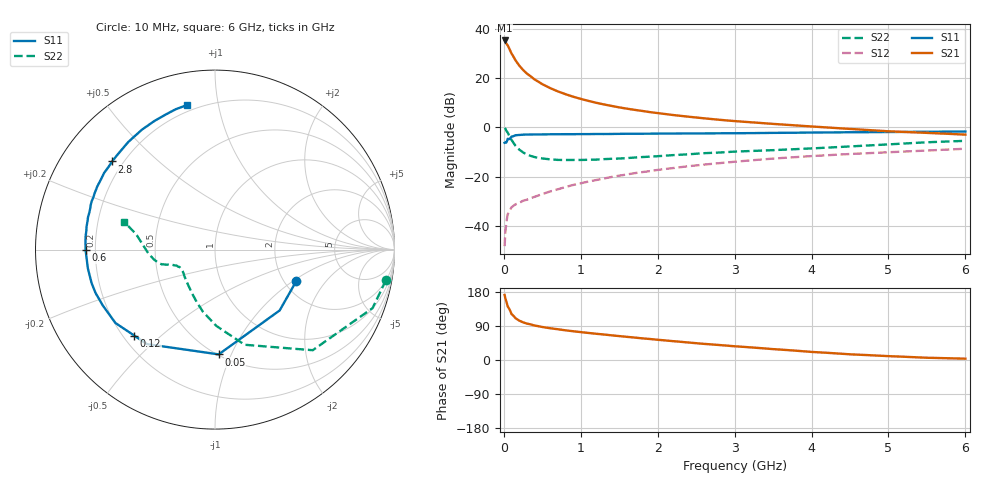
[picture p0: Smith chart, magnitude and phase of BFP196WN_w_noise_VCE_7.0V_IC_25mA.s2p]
! Infineon Technologies  Discrete & RF Semiconductors
! BFP196WN
! VCE =  7.0 V,  IC =  25 mA
! Common Emitter S-Parameters:  Jan 2017
# GHz  S  MA  R  50
!  f  S11  S21  S12  S22
! GHz  MAG  ANG  MAG  ANG  MAG  ANG  MAG  ANG
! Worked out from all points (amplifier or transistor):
!   77 points, 10 MHz to 6 GHz, reference 50 ohm
!   highest |S21| = 35.2 dB at 10 MHz (marker M1)
!   |S21| within 3 dB of that: start of sweep to 65.97 MHz
!   unconditionally stable (mu >= 1): 870.2 MHz to 2.671 GHz
!   at 130 MHz: K = 0.36, MSG = 30.0 dB, |S12| = -31.7 dB
!   at 2.2 GHz: K = 1.03, MAG = 9.8 dB, |S12| = -16.5 dB
!   at 6 GHz: K = 0.89, MSG = 2.9 dB, |S12| = -8.7 dB
!   lowest NFmin = 1.00 dB at 450 MHz
!   S11 on the Smith chart (normalised r, x): 10 MHz: 2.31, -1.07; 50 MHz: 0.51, -0.90; 120 MHz: 0.24, -0.41; 600 MHz: 0.16, -0.00; 2.8 GHz: 0.16, +0.36; 6 GHz: 0.17, +0.81
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0.01  0.4858 -21.3  57.39 171.7  0.0039 82.5  0.9673 -10.2
0.02  0.4946 -43.3  54.2 162.4  0.0077 76.5  0.9365 -20.4
0.05  0.5842 -88.0  45.75 141.3  0.0172 58.0  0.7817 -45.8
0.1  0.6489 -125.8  31.22 121.1  0.0239 46.0  0.5553 -72.7
0.12  0.6572 -133.2  27.8 117.6  0.0253 44.4  0.4984 -78.2
0.15  0.6891 -143.6  22.94 110.5  0.0274 42.2  0.4246 -89.1
0.2  0.6984 -153.5  17.8 103.9  0.0293 42.7  0.3532 -100.9
0.25  0.7081 -160.1  14.5 99.4  0.0325 43.2  0.3096 -109.2
0.3  0.7124 -164.9  12.22 96.1  0.0341 45.0  0.2789 -116.6
0.4  0.7159 -171.5  9.292 90.9  0.039 49.0  0.2487 -126.7
0.5  0.7171 -176.3  7.466 87.1  0.0443 52.5  0.2332 -134.4
0.6  0.7207 -179.7  6.242 83.9  0.05 55.5  0.2243 -140.0
0.7  0.7224 177.3  5.349 81.2  0.0552 57.7  0.2183 -143.8
0.8  0.7248 174.3  4.691 78.3  0.0615 60.2  0.2173 -146.5
1.1  0.7274 167.7  3.422 71.4  0.0796 62.5  0.2191 -153.0
1.5  0.7356 160.3  2.528 63.1  0.1045 63.0  0.2326 -157.7
2.1  0.7449 150.2  1.854 51.6  0.143 61.9  0.2661 -161.5
2.8  0.7547 139.4  1.419 39.5  0.1873 58.4  0.3075 -164.5
3.1  0.7591 134.8  1.301 34.9  0.2065 56.1  0.3256 -167.4
4.1  0.7837 120.1  1.015 20.2  0.2659 48.8  0.3797 -178.7
5.1  0.8032 109.0  0.817 9.4  0.3169 41.4  0.4591 167.9
6  0.8202 100.9  0.71 3.5  0.3677 35.3  0.531 163.3
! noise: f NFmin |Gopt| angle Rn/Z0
0.45  1  0.43  174  0.05
0.9  1.15  0.51  182  0.05
1.9  2.08  0.68  210  0.13
2.4  2.83  0.69  217  0.23
